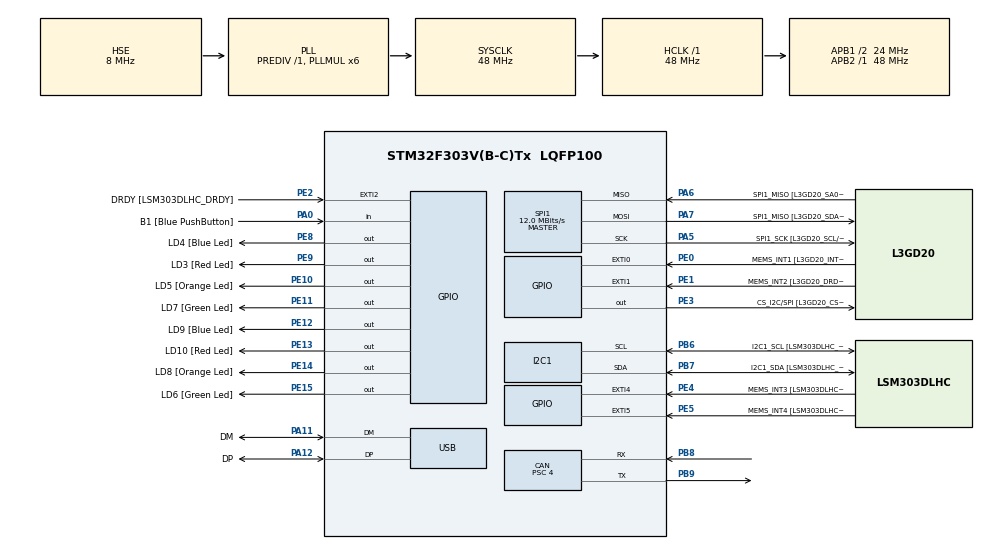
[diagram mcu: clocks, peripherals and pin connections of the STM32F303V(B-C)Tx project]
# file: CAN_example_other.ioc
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CAN.BS1=CAN_BS1_15TQ
CAN.BS2=CAN_BS2_8TQ
CAN.CalculateBaudRate=250000
CAN.CalculateTimeBit=4000
CAN.CalculateTimeQuantum=166.66666666666666
CAN.Prescaler=4
I2C1.Timing=0x00201D2B
I2C1.Timing-I2C=0x2000090E
Mcu.Family=STM32F3
Mcu.Name=STM32F303V(B-C)Tx
Mcu.Package=LQFP100
NVIC.PriorityGroup=NVIC_PRIORITYGROUP_0
NVIC.USB_LP_CAN_RX0_IRQn=true\:0\:0\:false\:false\:true\:true\:true\:true
PA0.GPIO_Label=B1 [Blue PushButton]
PA0.Signal=GPIO_Input
PA11.GPIO_Label=DM
PA11.Mode=Device
PA11.Signal=USB_DM
PA12.GPIO_Label=DP
PA12.Mode=Device
PA12.Signal=USB_DP
PA13.GPIO_Label=SWDIO
PA13.Mode=Serial_Wire
PA13.Signal=SYS_JTMS-SWDIO
PA14.GPIO_Label=SWCLK
PA14.Mode=Serial_Wire
PA14.Signal=SYS_JTCK-SWCLK
PA5.GPIO_Label=SPI1_SCK [L3GD20_SCL/SPC]
PA5.Mode=Full_Duplex_Master
PA5.Signal=SPI1_SCK
PA6.GPIO_Label=SPI1_MISO [L3GD20_SA0/SDO]
PA6.Mode=Full_Duplex_Master
PA6.Signal=SPI1_MISO
PA7.GPIO_Label=SPI1_MISO [L3GD20_SDA/SDI/SDO]
PA7.Mode=Full_Duplex_Master
PA7.Signal=SPI1_MOSI
PB3.GPIO_Label=SWO
PB3.Signal=SYS_JTDO-TRACESWO
PB6.GPIO_Label=I2C1_SCL [LSM303DLHC_SCL]
PB6.GPIO_Pu=GPIO_PULLUP
PB6.Mode=I2C
PB6.Signal=I2C1_SCL
PB7.GPIO_Label=I2C1_SDA [LSM303DLHC_SDA]
PB7.GPIO_Pu=GPIO_PULLUP
PB7.Mode=I2C
PB7.Signal=I2C1_SDA
PB8.Mode=CAN_Activate
PB8.Signal=CAN_RX
PB9.Mode=CAN_Activate
PB9.Signal=CAN_TX
PC14-OSC32_IN.GPIO_Label=OSC32_IN
PC14-OSC32_IN.Signal=RCC_OSC32_IN
PC15-OSC32_OUT.GPIO_Label=OSC32_OUT
PC15-OSC32_OUT.Signal=RCC_OSC32_OUT
PE0.GPIO_Label=MEMS_INT1 [L3GD20_INT1]
PE0.GPIO_ModeDefaultEXTI=GPIO_MODE_EVT_RISING
PE0.Signal=GPXTI0
PE1.GPIO_Label=MEMS_INT2 [L3GD20_DRDY/INT2]
PE1.GPIO_ModeDefaultEXTI=GPIO_MODE_EVT_RISING
PE1.Signal=GPXTI1
PE10.GPIO_Label=LD5 [Orange Led]
PE10.Signal=GPIO_Output
PE11.GPIO_Label=LD7 [Green Led]
PE11.Signal=GPIO_Output
PE12.GPIO_Label=LD9 [Blue Led]
PE12.Signal=GPIO_Output
PE13.GPIO_Label=LD10 [Red Led]
PE13.Signal=GPIO_Output
PE14.GPIO_Label=LD8 [Orange Led]
PE14.Signal=GPIO_Output
PE15.GPIO_Label=LD6 [Green Led]
PE15.Signal=GPIO_Output
PE2.GPIO_Label=DRDY [LSM303DLHC_DRDY]
PE2.GPIO_ModeDefaultEXTI=GPIO_MODE_EVT_RISING
PE2.Signal=GPXTI2
PE3.GPIO_Label=CS_I2C/SPI [L3GD20_CS_I2C/SPI]
PE3.Signal=GPIO_Output
PE4.GPIO_Label=MEMS_INT3 [LSM303DLHC_INT1]
PE4.GPIO_ModeDefaultEXTI=GPIO_MODE_EVT_RISING
PE4.Signal=GPXTI4
PE5.GPIO_Label=MEMS_INT4 [LSM303DLHC_INT2]
PE5.GPIO_ModeDefaultEXTI=GPIO_MODE_EVT_RISING
PE5.Signal=GPXTI5
PE8.GPIO_Label=LD4 [Blue Led]
PE8.Signal=GPIO_Output
PE9.GPIO_Label=LD3 [Red Led]
PE9.Signal=GPIO_Output
PF0-OSC_IN.GPIO_Label=OSC_IN
PF0-OSC_IN.Mode=HSE-External-Clock-Source
PF0-OSC_IN.Signal=RCC_OSC_IN
PF1-OSC_OUT.GPIO_Label=OSC_OUT
PF1-OSC_OUT.Signal=RCC_OSC_OUT
ProjectManager.HeapSize=0x200
ProjectManager.StackSize=0x400
ProjectManager.TargetToolchain=STM32CubeIDE
RCC.AHBFreq_Value=48000000
RCC.APB1CLKDivider=RCC_HCLK_DIV2
RCC.APB1Freq_Value=24000000
RCC.APB1TimFreq_Value=48000000
RCC.APB2Freq_Value=48000000
RCC.APB2TimFreq_Value=48000000
RCC.CortexFreq_Value=48000000
RCC.HCLKFreq_Value=48000000
RCC.HSE_VALUE=8000000
RCC.HSI_VALUE=8000000
RCC.LSE_VALUE=32768
RCC.PLLMUL=RCC_PLL_MUL6
RCC.SYSCLKFreq_VALUE=48000000
RCC.SYSCLKSourceVirtual=RCC_SYSCLKSOURCE_PLLCLK
RCC.USBFreq_Value=48000000
SPI1.BaudRatePrescaler=SPI_BAUDRATEPRESCALER_4
SPI1.BaudRatePrescaler-Full_Duplex_Master=SPI_BAUDRATEPRESCALER_2
SPI1.CalculateBaudRate=12.0 MBits/s
SPI1.CalculateBaudRate-Full_Duplex_Master=24.0 MBits/s
SPI1.Direction=SPI_DIRECTION_2LINES
SPI1.Mode=SPI_MODE_MASTER
SPI1.Mode-Full_Duplex_Master=SPI_MODE_MASTER
SPI1.VirtualType=VM_MASTER
board=STM32F3DISCOVERY

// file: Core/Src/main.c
/* USER CODE BEGIN Header */
/**
  ******************************************************************************
  * @file           : main.c
  * @brief          : Main program body
  ******************************************************************************
  * @attention
  *
  * Copyright (c) 2026 STMicroelectronics.
  * All rights reserved.
  *
  * This software is licensed under terms that can be found in the LICENSE file
  * in the root directory of this software component.
  * If no LICENSE file comes with this software, it is provided AS-IS.
  *
  ******************************************************************************
  */
/* USER CODE END Header */
#include "main.h"

CAN_HandleTypeDef hcan;

I2C_HandleTypeDef hi2c1;

SPI_HandleTypeDef hspi1;

PCD_HandleTypeDef hpcd_USB_FS;

void SystemClock_Config(void);
static void MX_GPIO_Init(void);
static void MX_CAN_Init(void);
static void MX_I2C1_Init(void);
static void MX_SPI1_Init(void);
static void MX_USB_PCD_Init(void);

/* USER CODE BEGIN 0 */
void CAN_Send(uint8_t *data)
{
    CAN_TxHeaderTypeDef txHeader = {0};

    uint32_t txMailbox;

    txHeader.StdId = 0x200;
    txHeader.ExtId = 0;
    txHeader.IDE = CAN_ID_STD;
    txHeader.RTR = CAN_RTR_DATA;
    txHeader.DLC = 8;
    txHeader.TransmitGlobalTime = DISABLE;

    HAL_CAN_AddTxMessage(
        &hcan,
        &txHeader,
        data,
        &txMailbox
    );
}
volatile uint16_t counter = 0;
void HAL_CAN_RxFifo0MsgPendingCallback(CAN_HandleTypeDef *hcan)
{
    CAN_RxHeaderTypeDef rxHeader;
    uint8_t rxData[8];

    if (HAL_CAN_GetRxMessage(
        hcan,
        CAN_RX_FIFO0,
        &rxHeader,
        rxData
    ) == HAL_OK)
    {
        if (rxHeader.StdId == 0x100)
        {

            counter++;
            if (counter == 10){
            	HAL_GPIO_TogglePin(LD3_GPIO_Port, LD3_Pin);
            	counter = 0;
            }
        }

    }
}
/* USER CODE END 0 */

int main(void)
{

  /* MCU Configuration--------------------------------------------------------*/

  /* Reset of all peripherals, Initializes the Flash interface and the Systick. */
  HAL_Init();

  /* Configure the system clock */
  SystemClock_Config();

  /* Initialize all configured peripherals */
  MX_GPIO_Init();
  MX_CAN_Init();
  MX_I2C1_Init();
  MX_SPI1_Init();
  MX_USB_PCD_Init();
  /* USER CODE BEGIN 2 */
  CAN_FilterTypeDef filter = {0};

  filter.FilterBank = 0;
  filter.FilterMode = CAN_FILTERMODE_IDMASK;
  filter.FilterScale = CAN_FILTERSCALE_32BIT;

  filter.FilterIdHigh = 0x0000;
  filter.FilterIdLow = 0x0000;

  filter.FilterMaskIdHigh = 0x0000;
  filter.FilterMaskIdLow = 0x0000;

  filter.FilterFIFOAssignment = CAN_FILTER_FIFO0;
  filter.FilterActivation = ENABLE;

  filter.SlaveStartFilterBank = 14;

  HAL_CAN_ConfigFilter(&hcan, &filter);

  HAL_CAN_Start(&hcan);

  HAL_CAN_ActivateNotification(
	  &hcan,
	  CAN_IT_RX_FIFO0_MSG_PENDING
  );
  /* USER CODE END 2 */

  /* Infinite loop */
  while (1)
  {

    /* USER CODE BEGIN 3 */
	  uint8_t txData[8] = {
	  		  9, 10, 11, 12, 13, 14, 15, 16
	  	  };

	  	  CAN_Send(txData);
	  	  HAL_Delay(20);
  }
  /* USER CODE END 3 */
}

void SystemClock_Config(void)
{
  RCC_OscInitTypeDef RCC_OscInitStruct = {0};
  RCC_ClkInitTypeDef RCC_ClkInitStruct = {0};
  RCC_PeriphCLKInitTypeDef PeriphClkInit = {0};

  /** Initializes the RCC Oscillators according to the specified parameters
  * in the RCC_OscInitTypeDef structure.
  */
  RCC_OscInitStruct.OscillatorType = RCC_OSCILLATORTYPE_HSI|RCC_OSCILLATORTYPE_HSE;
  RCC_OscInitStruct.HSEState = RCC_HSE_BYPASS;
  RCC_OscInitStruct.HSEPredivValue = RCC_HSE_PREDIV_DIV1;
  RCC_OscInitStruct.HSIState = RCC_HSI_ON;
  RCC_OscInitStruct.HSICalibrationValue = RCC_HSICALIBRATION_DEFAULT;
  RCC_OscInitStruct.PLL.PLLState = RCC_PLL_ON;
  RCC_OscInitStruct.PLL.PLLSource = RCC_PLLSOURCE_HSE;
  RCC_OscInitStruct.PLL.PLLMUL = RCC_PLL_MUL6;
  if (HAL_RCC_OscConfig(&RCC_OscInitStruct) != HAL_OK)
  {
    Error_Handler();
  }

  /** Initializes the CPU, AHB and APB buses clocks
  */
  RCC_ClkInitStruct.ClockType = RCC_CLOCKTYPE_HCLK|RCC_CLOCKTYPE_SYSCLK
                              |RCC_CLOCKTYPE_PCLK1|RCC_CLOCKTYPE_PCLK2;
  RCC_ClkInitStruct.SYSCLKSource = RCC_SYSCLKSOURCE_PLLCLK;
  RCC_ClkInitStruct.AHBCLKDivider = RCC_SYSCLK_DIV1;
  RCC_ClkInitStruct.APB1CLKDivider = RCC_HCLK_DIV2;
  RCC_ClkInitStruct.APB2CLKDivider = RCC_HCLK_DIV1;

  if (HAL_RCC_ClockConfig(&RCC_ClkInitStruct, FLASH_LATENCY_1) != HAL_OK)
  {
    Error_Handler();
  }
  PeriphClkInit.PeriphClockSelection = RCC_PERIPHCLK_USB|RCC_PERIPHCLK_I2C1;
  PeriphClkInit.I2c1ClockSelection = RCC_I2C1CLKSOURCE_HSI;
  PeriphClkInit.USBClockSelection = RCC_USBCLKSOURCE_PLL;
  if (HAL_RCCEx_PeriphCLKConfig(&PeriphClkInit) != HAL_OK)
  {
    Error_Handler();
  }
}

static void MX_CAN_Init(void)
{

  hcan.Instance = CAN;
  hcan.Init.Prescaler = 4;
  hcan.Init.Mode = CAN_MODE_NORMAL;
  hcan.Init.SyncJumpWidth = CAN_SJW_1TQ;
  hcan.Init.TimeSeg1 = CAN_BS1_15TQ;
  hcan.Init.TimeSeg2 = CAN_BS2_8TQ;
  hcan.Init.TimeTriggeredMode = DISABLE;
  hcan.Init.AutoBusOff = DISABLE;
  hcan.Init.AutoWakeUp = DISABLE;
  hcan.Init.AutoRetransmission = DISABLE;
  hcan.Init.ReceiveFifoLocked = DISABLE;
  hcan.Init.TransmitFifoPriority = DISABLE;
  if (HAL_CAN_Init(&hcan) != HAL_OK)
  {
    Error_Handler();
  }

}

static void MX_I2C1_Init(void)
{

  hi2c1.Instance = I2C1;
  hi2c1.Init.Timing = 0x00201D2B;
  hi2c1.Init.OwnAddress1 = 0;
  hi2c1.Init.AddressingMode = I2C_ADDRESSINGMODE_7BIT;
  hi2c1.Init.DualAddressMode = I2C_DUALADDRESS_DISABLE;
  hi2c1.Init.OwnAddress2 = 0;
  hi2c1.Init.OwnAddress2Masks = I2C_OA2_NOMASK;
  hi2c1.Init.GeneralCallMode = I2C_GENERALCALL_DISABLE;
  hi2c1.Init.NoStretchMode = I2C_NOSTRETCH_DISABLE;
  if (HAL_I2C_Init(&hi2c1) != HAL_OK)
  {
    Error_Handler();
  }

  /** Configure Analogue filter
  */
  if (HAL_I2CEx_ConfigAnalogFilter(&hi2c1, I2C_ANALOGFILTER_ENABLE) != HAL_OK)
  {
    Error_Handler();
  }

  /** Configure Digital filter
  */
  if (HAL_I2CEx_ConfigDigitalFilter(&hi2c1, 0) != HAL_OK)
  {
    Error_Handler();
  }

}

static void MX_SPI1_Init(void)
{

  /* SPI1 parameter configuration*/
  hspi1.Instance = SPI1;
  hspi1.Init.Mode = SPI_MODE_MASTER;
  hspi1.Init.Direction = SPI_DIRECTION_2LINES;
  hspi1.Init.DataSize = SPI_DATASIZE_4BIT;
  hspi1.Init.CLKPolarity = SPI_POLARITY_LOW;
  hspi1.Init.CLKPhase = SPI_PHASE_1EDGE;
  hspi1.Init.NSS = SPI_NSS_SOFT;
  hspi1.Init.BaudRatePrescaler = SPI_BAUDRATEPRESCALER_4;
  hspi1.Init.FirstBit = SPI_FIRSTBIT_MSB;
  hspi1.Init.TIMode = SPI_TIMODE_DISABLE;
  hspi1.Init.CRCCalculation = SPI_CRCCALCULATION_DISABLE;
  hspi1.Init.CRCPolynomial = 7;
  hspi1.Init.CRCLength = SPI_CRC_LENGTH_DATASIZE;
  hspi1.Init.NSSPMode = SPI_NSS_PULSE_ENABLE;
  if (HAL_SPI_Init(&hspi1) != HAL_OK)
  {
    Error_Handler();
  }

}

static void MX_USB_PCD_Init(void)
{

  hpcd_USB_FS.Instance = USB;
  hpcd_USB_FS.Init.dev_endpoints = 8;
  hpcd_USB_FS.Init.speed = PCD_SPEED_FULL;
  hpcd_USB_FS.Init.phy_itface = PCD_PHY_EMBEDDED;
  hpcd_USB_FS.Init.low_power_enable = DISABLE;
  hpcd_USB_FS.Init.battery_charging_enable = DISABLE;
  if (HAL_PCD_Init(&hpcd_USB_FS) != HAL_OK)
  {
    Error_Handler();
  }

}

static void MX_GPIO_Init(void)
{
  GPIO_InitTypeDef GPIO_InitStruct = {0};

  /* GPIO Ports Clock Enable */
  __HAL_RCC_GPIOE_CLK_ENABLE();
  __HAL_RCC_GPIOC_CLK_ENABLE();
  __HAL_RCC_GPIOF_CLK_ENABLE();
  __HAL_RCC_GPIOA_CLK_ENABLE();
  __HAL_RCC_GPIOB_CLK_ENABLE();

  /*Configure GPIO pin Output Level */
  HAL_GPIO_WritePin(GPIOE, CS_I2C_SPI_Pin|LD4_Pin|LD3_Pin|LD5_Pin
                          |LD7_Pin|LD9_Pin|LD10_Pin|LD8_Pin
                          |LD6_Pin, GPIO_PIN_RESET);

  /*Configure GPIO pins : DRDY_Pin MEMS_INT3_Pin MEMS_INT4_Pin MEMS_INT1_Pin
                           MEMS_INT2_Pin */
  GPIO_InitStruct.Pin = DRDY_Pin|MEMS_INT3_Pin|MEMS_INT4_Pin|MEMS_INT1_Pin
                          |MEMS_INT2_Pin;
  GPIO_InitStruct.Mode = GPIO_MODE_EVT_RISING;
  GPIO_InitStruct.Pull = GPIO_NOPULL;
  HAL_GPIO_Init(GPIOE, &GPIO_InitStruct);

  /*Configure GPIO pins : CS_I2C_SPI_Pin LD4_Pin LD3_Pin LD5_Pin
                           LD7_Pin LD9_Pin LD10_Pin LD8_Pin
                           LD6_Pin */
  GPIO_InitStruct.Pin = CS_I2C_SPI_Pin|LD4_Pin|LD3_Pin|LD5_Pin
                          |LD7_Pin|LD9_Pin|LD10_Pin|LD8_Pin
                          |LD6_Pin;
  GPIO_InitStruct.Mode = GPIO_MODE_OUTPUT_PP;
  GPIO_InitStruct.Pull = GPIO_NOPULL;
  GPIO_InitStruct.Speed = GPIO_SPEED_FREQ_LOW;
  HAL_GPIO_Init(GPIOE, &GPIO_InitStruct);

  /*Configure GPIO pin : B1_Pin */
  GPIO_InitStruct.Pin = B1_Pin;
  GPIO_InitStruct.Mode = GPIO_MODE_INPUT;
  GPIO_InitStruct.Pull = GPIO_NOPULL;
  HAL_GPIO_Init(B1_GPIO_Port, &GPIO_InitStruct);

}

void Error_Handler(void)
{
  __disable_irq();
  while (1)
  {
  }
}
